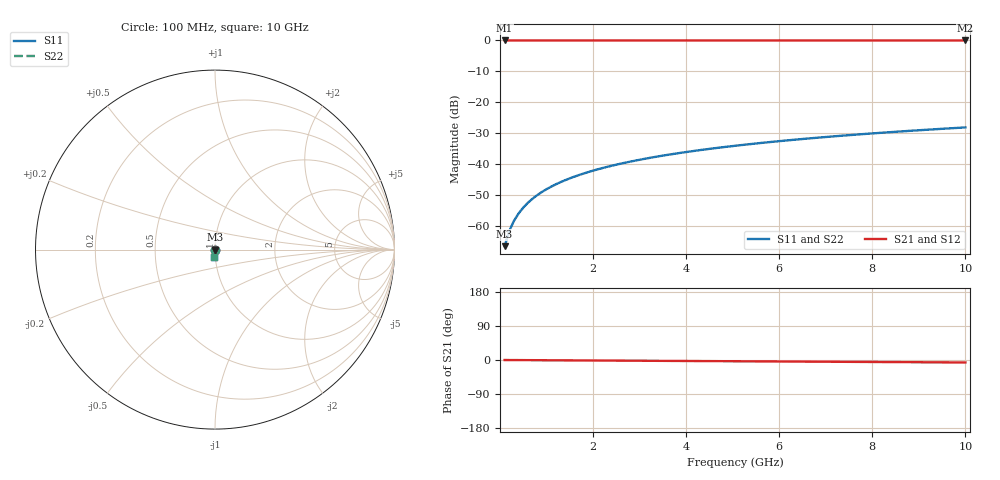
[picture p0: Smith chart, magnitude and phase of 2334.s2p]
# Hz S RI R 50.00
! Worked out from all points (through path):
!   100 points, 100 MHz to 10 GHz, reference 50 ohm
!   highest |S21| = 0.00 dB at 100 MHz (marker M1); lowest = 0.0 dB at 10 GHz (marker M2)
!   lowest |S11| = -66.6 dB at 100 MHz (marker M3), VSWR 1.00, Z = 50 - j0.039 ohm
!   |S11| at or under -10 dB: start of sweep to end of sweep
!   |S22| runs from -66.6 to -28.2 dB; largest |S21 - S12| = 0
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1e8  0.000256 -0.000389  0.9997 -0.00113  0.9997 -0.00113  0.000256 -0.000389
2e8  0.000256 -0.000779  0.9997 -0.00227  0.9997 -0.00227  0.000256 -0.000779
3e8  0.000254 -0.00117  0.9997 -0.0034  0.9997 -0.0034  0.000254 -0.00117
4e8  0.000252 -0.00156  0.9997 -0.00454  0.9997 -0.00454  0.000252 -0.00156
5e8  0.000248 -0.00195  0.9997 -0.00567  0.9997 -0.00567  0.000248 -0.00195
6e8  0.000243 -0.00234  0.9997 -0.00681  0.9997 -0.00681  0.000243 -0.00234
7e8  0.000237 -0.00273  0.9997 -0.00794  0.9997 -0.00794  0.000237 -0.00273
8e8  0.000231 -0.00312  0.9997 -0.00908  0.9997 -0.00908  0.000231 -0.00312
9e8  0.000223 -0.0035  0.9997 -0.0102  0.9997 -0.0102  0.000223 -0.0035
1.1e9  0.000205 -0.00428  0.9996 -0.0125  0.9996 -0.0125  0.000205 -0.00428
1.4e9  0.000171 -0.00545  0.9996 -0.0159  0.9996 -0.0159  0.000171 -0.00545
1.8e9  0.000114 -0.00701  0.9995 -0.0204  0.9995 -0.0204  0.000114 -0.00701
2.1e9  6.11e-05 -0.00818  0.9994 -0.0238  0.9994 -0.0238  6.11e-05 -0.00818
2.5e9  -2.16e-05 -0.00974  0.9993 -0.0284  0.9993 -0.0284  -2.16e-05 -0.00974
2.9e9  -0.000119 -0.0113  0.9991 -0.0329  0.9991 -0.0329  -0.000119 -0.0113
3.4e9  -0.00026 -0.0132  0.9989 -0.0386  0.9989 -0.0386  -0.00026 -0.0132
4.2e9  -0.000532 -0.0164  0.9984 -0.0477  0.9984 -0.0477  -0.000532 -0.0164
5.1e9  -0.000907 -0.0199  0.9978 -0.0579  0.9978 -0.0579  -0.000907 -0.0199
5.9e9  -0.0013 -0.023  0.9972 -0.067  0.9972 -0.067  -0.0013 -0.023
6.7e9  -0.00175 -0.0261  0.9964 -0.0761  0.9964 -0.0761  -0.00175 -0.0261
8.4e9  -0.0029 -0.0327  0.9945 -0.0954  0.9945 -0.0954  -0.0029 -0.0327
1e10  -0.00421 -0.0388  0.9924 -0.1136  0.9924 -0.1136  -0.00421 -0.0388
